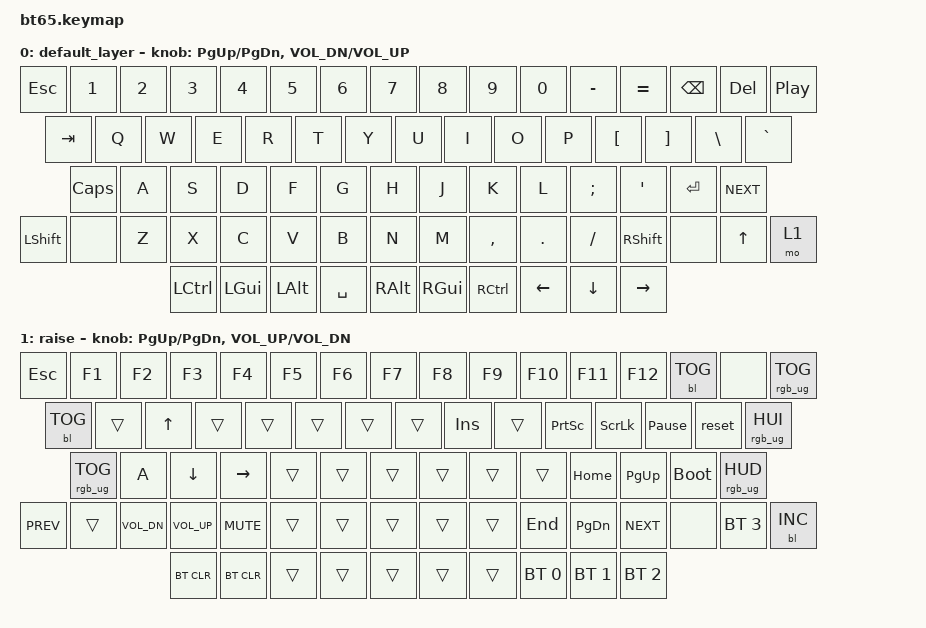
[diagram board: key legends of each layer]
#include <behaviors.dtsi>
#include <dt-bindings/zmk/keys.h>
#include <dt-bindings/zmk/bt.h>
#include <dt-bindings/zmk/rgb.h>
#include <dt-bindings/zmk/backlight.h>
#include <dt-bindings/zmk/ext_power.h>


/ {
	keymap {
		compatible = "zmk,keymap";

		default_layer {
				// ------------------------------------------------------------------------------------------------------------
				// |  `  |  1  |  2  |  3  |  4  |  5  |  6  |  7  |  8  |  9  |  0  |  -  |  =  |BKSP | DEL | encoder_1		|
				// | TAB  |  Q  |  W  |  E  |  R  |  T  |  Y  |  U  |  I  |  O  |  P  |  [  |  ]  |   \    | encoder_2		|
				// | CAPS  |  A  |  S  |  D  |  F  |  G  |  H  |  J  |  K  |  L  |  ;  |  '  |     ENTER    |PGUP	|
				// |  SHIFT| NONE |  Z  |  X  |  C  |  V  |  B  |  N  |  M  |  ,  |  .  | /   |   SHIFT  | UP   | 1|
				// |  CTL  |  WIN  |  ALT  |            SPACE               | ALT | MENU  |  CTRL| LEFT |  DOWN    | RIGHT	|
				// ------------------------------------------------------------------------------------------------------------
			bindings = <

				&kp ESC &kp N1 &kp N2 &kp N3 &kp N4 &kp N5 &kp N6 &kp N7 &kp  N8   &kp  N9   &kp N0 &kp MINUS &kp EQUAL &kp BKSP &kp DEL &kp C_PP
				&kp TAB  &kp Q  &kp W  &kp E  &kp R  &kp T  &kp Y  &kp U  &kp  I    &kp  O  &kp  P   &kp LBKT &kp RBKT  	&kp BSLH &kp GRAVE
				&kp CLCK  &kp A  &kp S  &kp D  &kp F  &kp G  &kp H  &kp J  &kp  K    &kp  L  &kp SEMI &kp SQT           	&kp RET &kp C_NEXT
				&kp LSHFT &none &kp Z  &kp X  &kp C  &kp V  &kp B  &kp N  &kp M  &kp COMMA &kp DOT &kp FSLH   &kp RSHFT &none &kp UP &mo 1
				&kp LCTRL &kp LGUI &kp LALT            &kp SPACE                          &kp RALT  &kp RGUI  &kp RCTRL &kp LEFT &kp DOWN &kp RIGHT
			>;
			sensor-bindings = <&inc_dec_kp PG_UP PG_DN &inc_dec_kp C_VOL_DN C_VOL_UP>;
		};
		raise {
			bindings = <
				&kp ESC &kp F1 &kp F2 &kp F3 &kp F4 &kp F5 &kp F6 &kp F7 &kp  F8   &kp  F9   &kp F10  &kp F11 &kp F12 &bl BL_TOG &none &rgb_ug RGB_TOG
				&bl BL_TOG &trans &kp UP &trans &trans &trans &trans &trans &kp INS &trans &kp PSCRN &kp SLCK &kp PAUSE_BREAK &reset &rgb_ug RGB_HUI
				&rgb_ug RGB_TOG    &kp A &kp DOWN &kp RIGHT &trans &trans &trans &trans &trans &trans &kp HOME  &kp PG_UP   &bootloader &rgb_ug RGB_HUD
				&kp C_PREV &trans &kp C_VOL_DN &kp C_VOL_UP &kp C_MUTE &trans &trans &trans &trans &trans &kp END &kp PG_DN  &kp C_NEXT &none &bt BT_SEL 3 &bl BL_INC
				&bt BT_CLR &bt BT_CLR  &trans              &trans                            &trans   &trans   &trans &bt BT_SEL 0 &bt BT_SEL 1 &bt BT_SEL 2
			>;
			sensor-bindings = <&inc_dec_kp PG_UP PG_DN &inc_dec_kp C_VOL_UP C_VOL_DN>;
		};
	};
};
